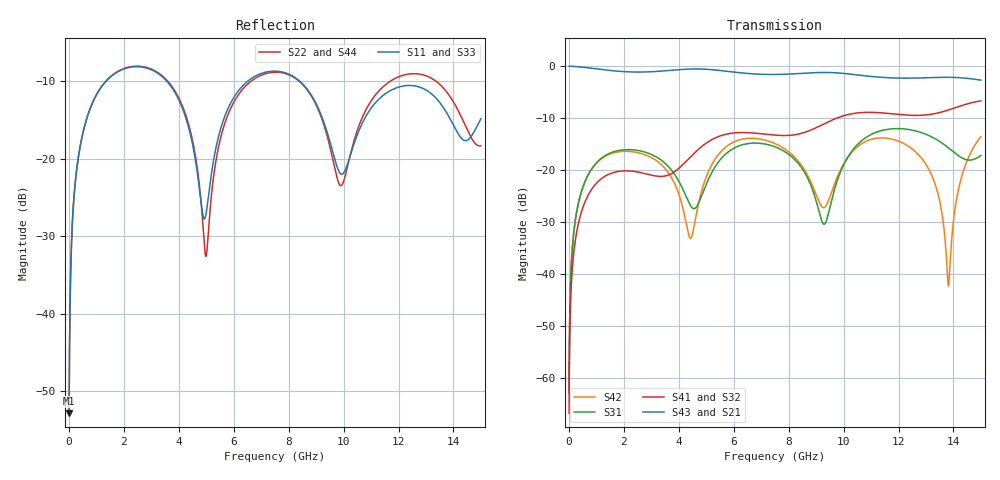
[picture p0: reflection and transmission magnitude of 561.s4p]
! Created with skrf 1.8.0 (http://scikit-rf.org).
# GHz S RI R 50.0
!freq ReS11 ImS11 ReS12 ImS12 ReS13 ImS13
! ReS14 ImS14
! ReS21 ImS21 ReS22 ImS22 ReS23 ImS23
! ReS24 ImS24
! ReS31 ImS31 ReS32 ImS32 ReS33 ImS33
! ReS34 ImS34
! ReS41 ImS41 ReS42 ImS42 ReS43 ImS43
! ReS44 ImS44
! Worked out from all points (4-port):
!   2499 points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, 5 MHz to 15 GHz, reference 50 ohm
!   strongest paths, dB at 5 MHz, 3.476 GHz, 7.19 GHz, 11.1 GHz, 15 GHz:
!     S43: 0.0, -0.9, -1.6, -2.0, -2.7
!     S21: 0.0, -0.9, -1.6, -2.0, -2.7
!     S41: -66.8, -21.2, -13.1, -8.9, -6.7
!     S32: -66.8, -21.2, -13.2, -8.9, -6.7
!     S31: -62.8, -18.6, -15.1, -12.9, -17.2
!     S42: -62.8, -19.5, -14.3, -14.0, -13.6
!   lowest |S11| = -52.9 dB at 5 MHz (marker M1), VSWR 1.00, Z = 50.2 + j0.138 ohm
!   |S11| at or under -10 dB: start of sweep to 1.349 GHz; 3.564 GHz to 6.506 GHz (2.942 GHz wide, 58.4 % of centre); 8.407 GHz to end of sweep
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0.005  0.00181 0.00138  0.9982 -0.00352  9.15e-05 0.000715  -8.88e-05 -0.000449
       0.9982 -0.00352  0.00181 0.00138  -8.88e-05 -0.000449  9.13e-05 0.000716
       9.15e-05 0.000715  -8.88e-05 -0.000449  0.00181 0.00138  0.9982 -0.00352
       -8.88e-05 -0.000449  9.13e-05 0.000716  0.9982 -0.00352  0.00181 0.00138
1.825761  0.3453 0.1271  0.3468 -0.8205  0.1536 0.0183  -0.0935 0.0268
          0.3468 -0.8205  0.3492 0.1227  -0.0935 0.0266  0.1449 0.0391
          0.1536 0.0183  -0.0935 0.0266  0.3453 0.127  0.3469 -0.8206
          -0.0935 0.0268  0.1449 0.0391  0.3469 -0.8206  0.349 0.1227
4.983326  0.0419 0.0111  -0.9319 -0.041  -0.0256 0.0668  -0.00235 0.1804
          -0.9319 -0.041  0.0233 -0.00233  -0.00348 0.1804  0.0389 0.0744
          -0.0256 0.0668  -0.00348 0.1804  0.0422 0.012  -0.9319 -0.041
          -0.00235 0.1804  0.0389 0.0744  -0.9319 -0.041  0.0228 -0.00163
7.503126  0.3674 -0.0101  -0.0826 0.826  0.1552 -0.0622  0.2113 -0.0485
          -0.0826 0.826  0.3617 -0.000822  0.2109 -0.046  0.1613 -0.0792
          0.1552 -0.0622  0.2109 -0.046  0.3669 -0.0114  -0.0835 0.8263
          0.2113 -0.0485  0.1613 -0.0792  -0.0835 0.8263  0.36 0.00124
10.17299  0.0904 0.0323  0.841 -0.00845  0.0524 0.125  -0.0237 -0.3415
          0.841 -0.00845  0.0807 0.0478  -0.0188 -0.342  0.0176 0.1336
          0.0524 0.125  -0.0188 -0.342  0.0886 0.0375  0.8409 -0.0079
          -0.0237 -0.3415  0.0176 0.1336  0.8409 -0.0079  0.0828 0.0515
13.81826  0.176 -0.0693  -0.4577 -0.6332  -0.0758 -0.1451  -0.2985 0.2324
          -0.4577 -0.6332  0.2149 -0.1475  -0.3027 0.2275  0.00665 0.00387
          -0.0758 -0.1451  -0.3027 0.2275  0.1819 -0.0682  -0.4525 -0.6358
          -0.2985 0.2324  0.00665 0.00387  -0.4525 -0.6358  0.2164 -0.1518
15  0.1648 0.0749  -0.7216 -0.1255  -0.0638 0.1226  -0.0626 0.4589
    -0.7216 -0.1255  0.1197 -0.0198  -0.0692 0.4569  0.0706 0.197
    -0.0638 0.1226  -0.0692 0.4569  0.171 0.0731  -0.7204 -0.1329
    -0.0626 0.4589  0.0706 0.197  -0.7204 -0.1329  0.1133 -0.0268
